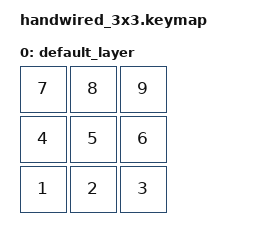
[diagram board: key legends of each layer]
#include <behaviors.dtsi>
#include <dt-bindings/zmk/keys.h>

/ {
    keymap {
        compatible = "zmk,keymap";

        default_layer {
            // ┌───┬───┬───┐
            // │ 7 │ 8 │ 9 │
            // ├───┼───┼───┤
            // │ 4 │ 5 │ 6 │
            // ├───┼───┼───┤
            // │ 1 │ 2 │ 3 │
            // └───┴───┴───┘
            bindings = <
                &kp N7  &kp N8  &kp N9
                &kp N4  &kp N5  &kp N6
                &kp N1  &kp N2  &kp N3
            >;
        };
    };
};
